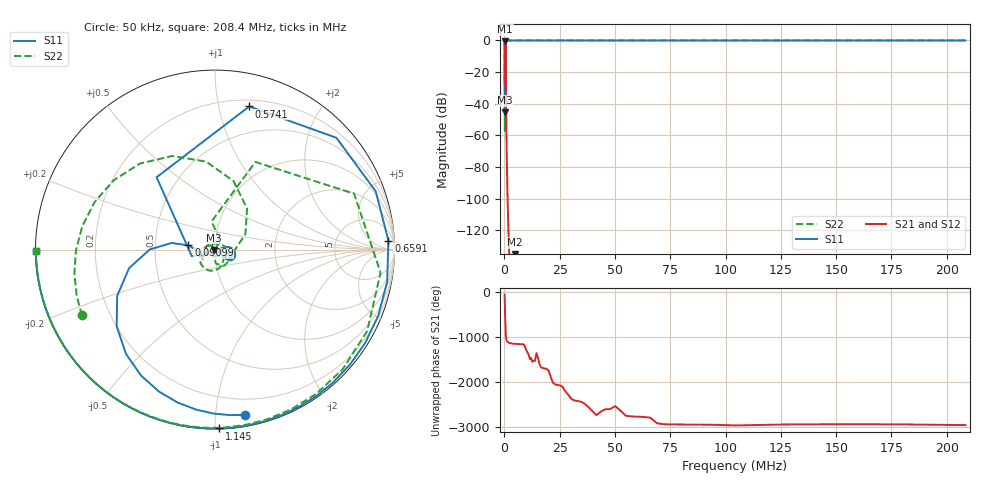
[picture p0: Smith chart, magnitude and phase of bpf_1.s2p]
! NeoRadio BPF 1: 0.1-0.5 MHz, selected in the bank
! generated_by 859cd57
# HZ S RI R 50
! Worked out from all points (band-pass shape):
!   182 points, 50 kHz to 208.4 MHz, reference 50 ohm
!   highest |S21| = -0.64 dB at 345.9 kHz (marker M1); lowest = -196.5 dB at 4.56 MHz (marker M2)
!   |S21| within 3 dB of the highest: 85.03 kHz to 549.3 kHz (464.2 kHz wide, 146 % of centre)
!   lowest |S11| = -45.4 dB at 144.2 kHz (marker M3), VSWR 1.01, Z = 49.5 - j0.233 ohm
!   |S11| at or under -10 dB: 84.36 kHz to 539.2 kHz (454.9 kHz wide, 146 % of centre)
!   |S22| runs from -57.3 to 0.0 dB; largest |S21 - S12| = 0
!   S11 on the Smith chart (normalised r, x): 50 kHz: 0.08, -1.19; 90.99 kHz: 0.74, +0.04; 574.1 kHz: 0.25, +1.24; 659.1 kHz: 17, +27; 1.145 MHz: 0.00, -1.03; 208.4 MHz: 0.00, -0.00
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50000  0.1651 -0.9211  0.0251 -0.0336  0.0251 -0.0336  -0.7415 -0.3671
72271.99  -0.5477 -0.4275  -0.2176 -0.2668  -0.2176 -0.2668  -0.2383 0.5216
90985.04  -0.1486 0.0237  -0.5875 0.4599  -0.5875 0.4599  0.1085 -0.00484
125594.3  -0.0504 -0.0188  0.6229 0.6095  0.6229 0.6095  -0.0217 0.0228
144201.6  -0.00485 -0.00236  0.8811 0.146  0.8811 0.146  -0.00711 0.00558
165565.6  0.0214 -0.00815  0.8255 -0.3764  0.8255 -0.3764  -0.000399 0.00131
181539  0.0275 -0.00563  0.6219 -0.6699  0.6219 -0.6699  0.0166 -0.00234
208434.7  0.0481 0.0117  0.1303 -0.9114  0.1303 -0.9114  0.0454 -0.0402
274770.4  0.1122 -0.0382  -0.8557 -0.349  -0.8557 -0.349  -0.0579 -0.1057
345915.5  0.0611 -0.0295  -0.5353 0.7591  -0.5353 0.7591  0.00328 0.0354
415881.9  0.0905 -0.0498  0.6326 0.6687  0.6326 0.6687  0.0491 -0.0901
456005.4  0.0316 -0.026  0.9157 -0.0482  0.9157 -0.0482  -0.0123 -0.0273
523564.3  -0.1292 -0.037  -0.2686 -0.8196  -0.2686 -0.8196  -0.019 0.1571
574076.8  0.1907 0.7975  -0.298 0.1909  -0.298 0.1909  0.7751 0.3113
659128.4  0.966 0.0505  0.01 0.0372  0.01 0.0372  0.7113 -0.6665
829793.5  0.6584 -0.7398  0.00188 0.000886  0.00188 0.000886  0.0495 -0.9919
1145434  0.0249 -0.9964  6.59e-05 -1.37e-05  6.59e-05 -1.37e-05  -0.4765 -0.8761
3303467  -0.8556 -0.514  1.31e-09 -2.69e-09  1.31e-09 -2.69e-09  -0.9387 -0.339
4560054  -0.9226 -0.3808  4.8e-11 -1.41e-10  4.8e-11 -1.41e-10  -0.967 -0.2469
1.315134e7  -0.9889 -0.1349  5.24e-16 -7.72e-15  5.24e-16 -7.72e-15  -0.9943 -0.0861
5.235643e7  -0.9974 -0.034  -4.74e-14 -1.06e-13  -4.74e-14 -1.06e-13  -0.9978 -0.0216
2.084347e8  -0.998 -0.00854  9.87e-20 -7.31e-19  9.87e-20 -7.31e-19  -0.998 -0.00544
